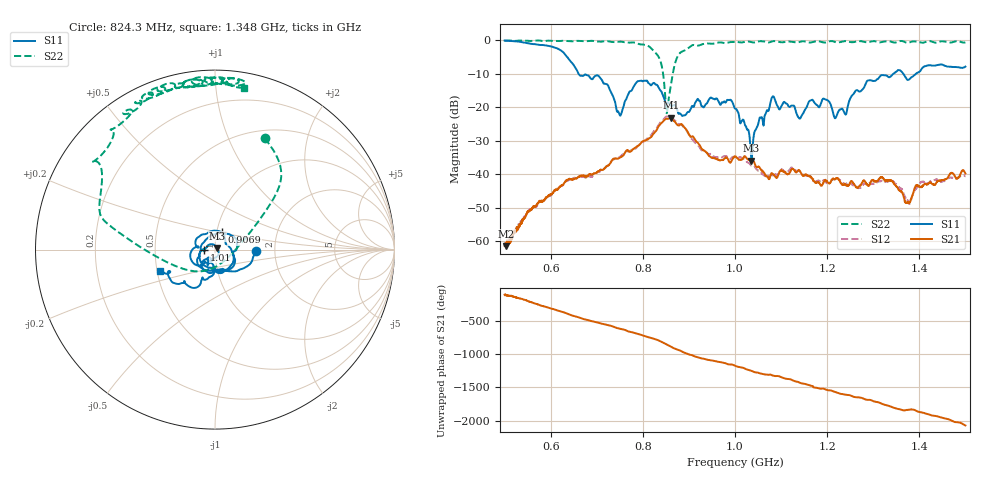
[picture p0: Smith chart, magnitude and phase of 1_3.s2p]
!Agilent Technologies,E8364B,US42250235,A.06.04.32
!Agilent E8364B: A.06.04.32
!Date: Thursday, October 01, 2020 11:06:52
!Correction: S11(Full 2 Port(1,2)) S21(Full 2 Port(1,2)) S12(Full 2 Port(1,2)) S22(Full 2 Port(1,2))
!S2P File: Measurements: S11, S21, S12, S22:
# Hz S  dB  R 50
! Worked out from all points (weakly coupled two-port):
!   2650 points, 500 MHz to 1.5 GHz, reference 50 ohm
!   highest |S21| = -23.20 dB at 861.3 MHz (marker M1); lowest = -61.4 dB at 503.4 MHz (marker M2)
!   lowest |S11| = -36.0 dB at 1.036 GHz (marker M3), VSWR 1.03, Z = 51.4 + j0.866 ohm
!   |S11| at or under -10 dB: 660 MHz to 1.345 GHz (685.1 MHz wide, 68.3 % of centre); 1.365 GHz to 1.393 GHz (28.2 MHz wide, 2.04 % of centre)
!   |S22| runs from -21.8 to -0.2 dB; largest |S21 - S12| = 0.02
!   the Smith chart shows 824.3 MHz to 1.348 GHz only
!   S11 on the Smith chart (normalised r, x): 824.3 MHz: 1.59, -0.03; 906.9 MHz: 1.06, +0.21; 1.01 GHz: 0.88, +0.00; 1.348 GHz: 0.52, -0.14
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5e8  -0.18 -175.4  -61.28 -104.7  -61.34 -112.8  -0.25 136.0
5.033975e8  -0.21 -177.2  -61.43 -108.1  -61.15 -115.0  -0.22 135.7
6.049453e8  -2.09 115.7  -45.61 40.2  -45.77 34.6  -0.28 129.8
6.668554e8  -10.64 80.1  -40.44 -100.2  -40.76 -109.1  -0.33 121.2
7.05738e8  -11.00 63.0  -38.99 -170.7  -39.32 -177.6  -0.51 116.0
7.491506e8  -22.07 63.9  -35.14 104.7  -34.88 97.1  -0.50 106.6
8.242733e8  -12.80 -2.2  -27.79 -49.1  -27.13 -59.8  -3.37 66.0
8.337108e8  -14.05 -29.1  -25.80 -71.6  -25.44 -84.2  -4.92 49.4
8.518309e8  -18.81 -69.8  -23.45 -134.3  -22.82 -147.1  -21.83 -48.7
8.612684e8  -19.66 -96.9  -23.20 -168.4  -22.57 176.7  -13.08 -153.2
9.06946e8  -19.67 68.3  -28.73 64.6  -29.56 47.0  -1.60 143.6
1.000189e9  -20.47 -155.9  -34.70 -93.2  -34.67 -107.9  -0.61 118.3
1.010381e9  -24.21 180.0  -35.73 -114.5  -34.96 -130.0  -0.74 117.1
1.035674e9  -35.95 31.9  -35.72 -169.3  -37.41 178.0  -0.66 115.2
1.081729e9  -16.84 -152.6  -39.87 119.1  -40.26 117.8  -0.39 104.3
1.139864e9  -23.42 29.0  -38.91 12.4  -39.08 4.8  -0.62 95.1
1.166667e9  -17.87 -54.2  -41.17 -37.6  -41.20 -45.0  -0.70 95.0
1.218384e9  -23.23 -121.0  -41.29 -128.9  -41.45 -120.0  -0.68 96.5
1.333522e9  -11.11 -154.5  -41.88 22.4  -42.07 41.0  -0.36 83.9
1.348245e9  -9.59 -158.9  -43.31 -13.6  -42.84 5.7  -0.78 80.0
1.378067e9  -11.75 -171.8  -48.50 -34.2  -48.65 -27.6  -0.76 74.9
1.5e9  -7.95 144.1  -39.79 88.0  -40.57 105.7  -0.72 60.9
